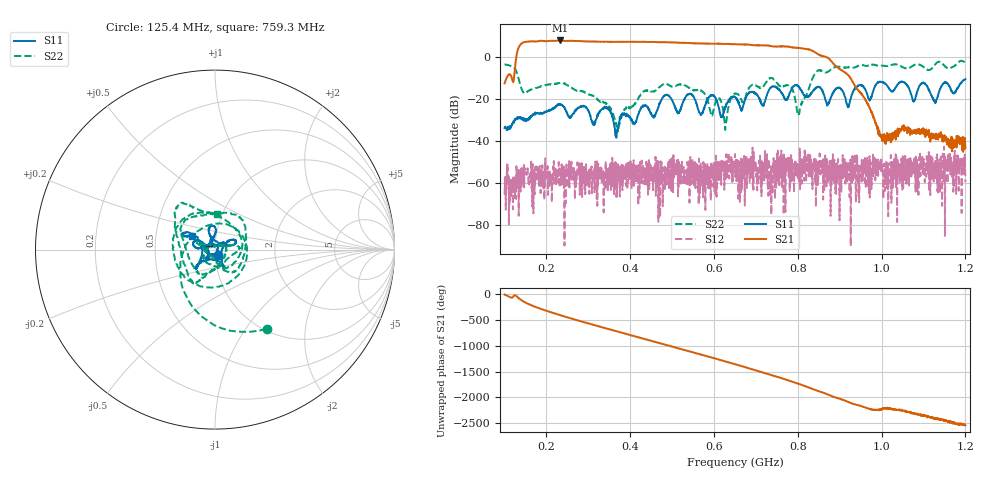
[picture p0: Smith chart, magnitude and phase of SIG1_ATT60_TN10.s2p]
# Hz S DB R 50
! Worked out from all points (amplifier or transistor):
!   1601 points, 100 MHz to 1.2 GHz, reference 50 ohm
!   highest |S21| = 8.0 dB at 232 MHz (marker M1)
!   |S21| within 3 dB of that: 134.4 MHz to 777.7 MHz (643.3 MHz wide, 141 % of centre)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
!   unconditionally stable (mu >= 1): start of sweep to end of sweep
!   at 282.9 MHz: K = 68.98, MAG = 7.8 dB, |S12| = -50.7 dB
!   at 650 MHz: K = 48.12, MAG = 6.3 dB, |S12| = -46.1 dB
!   at 1.2 GHz: K = 30786.64, MAG = -39.8 dB, |S12| = -59.5 dB
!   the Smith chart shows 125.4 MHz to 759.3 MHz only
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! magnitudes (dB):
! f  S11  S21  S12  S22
! 100 MHz  -33.7  -12.4  -65.5  -3.6
! 141.9 MHz  -29.4  6.7  -52.8  -15.7
! 232 MHz  -22.5  8.0  -54.7  -12.2
! 283.6 MHz  -23.2  7.6  -60.0  -16.1
! 370.2 MHz  -33.9  7.3  -51.0  -34.0
! 467.1 MHz  -23.9  7.2  -78.4  -14.7
! 542.8 MHz  -17.5  6.8  -59.8  -15.0
! 567.5 MHz  -27.0  6.5  -58.0  -15.9
! 594.3 MHz  -18.2  6.4  -51.1  -28.0
! 611.5 MHz  -24.1  6.5  -54.7  -19.1
! 627.3 MHz  -23.6  6.3  -58.0  -33.0
! 650 MHz  -19.0  6.2  -46.1  -17.4
! 716.7 MHz  -23.0  5.6  -50.6  -14.1
! 737.3 MHz  -14.3  5.3  -53.8  -9.9
! 782.7 MHz  -16.2  4.8  -59.3  -13.9
! 801.9 MHz  -13.8  4.4  -51.7  -27.5
! 833.6 MHz  -16.8  3.2  -51.1  -10.8
! 920.9 MHz  -23.9  -8.7  -57.2  -4.8
! 945.6 MHz  -13.3  -16.1  -54.3  -4.0
! 1.017 GHz  -14.8  -39.1  -53.1  -4.0
! 1.128 GHz  -20.8  -38.5  -50.6  -3.5
! 1.2 GHz  -10.5  -43.3  -59.5  -2.9
